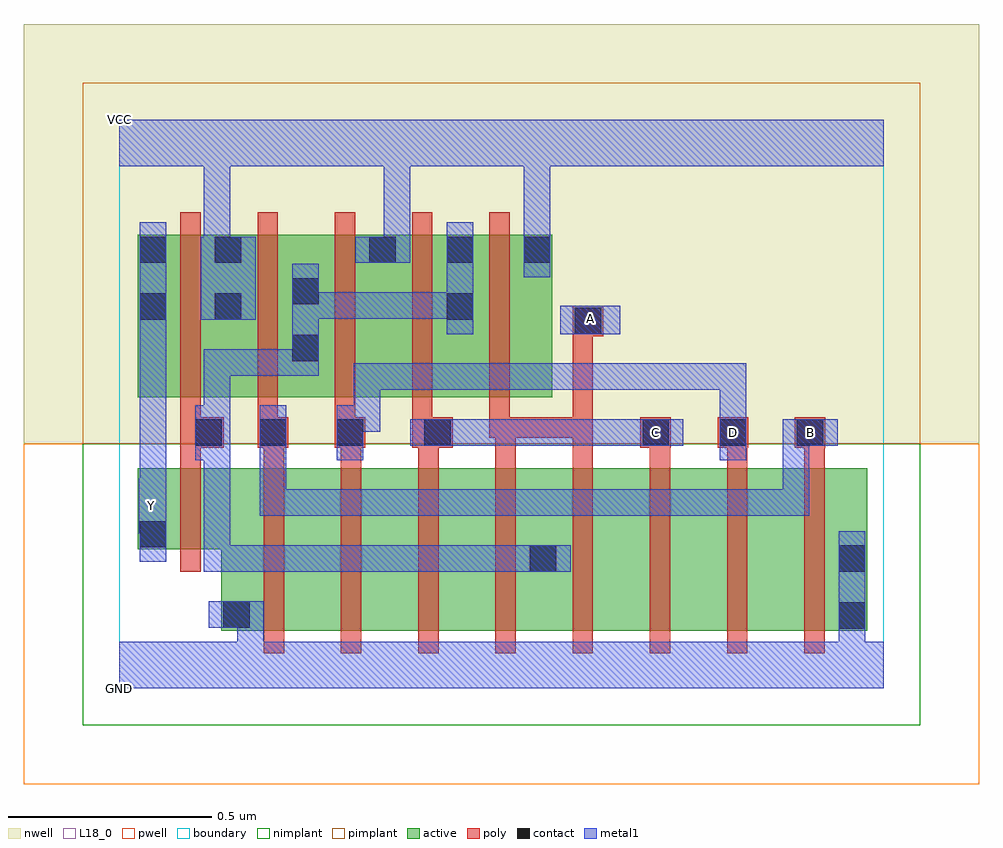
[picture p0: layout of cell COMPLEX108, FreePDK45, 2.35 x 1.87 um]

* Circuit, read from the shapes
.subckt COMPLEX108 A B C D GND VCC Y
M1 GND n1 Y VSUBS nfet w=0.2u l=0.05u
M2 n2 B GND VSUBS nfet w=0.4u l=0.05u
M3 n3 D n2 VSUBS nfet w=0.4u l=0.05u
M4 n4 C n3 VSUBS nfet w=0.4u l=0.05u
M5 n1 A n4 VSUBS nfet w=0.4u l=0.05u
M6 n5 A n1 VSUBS nfet w=0.4u l=0.05u
M7 n6 C n5 VSUBS nfet w=0.4u l=0.05u
M8 n7 D n6 VSUBS nfet w=0.4u l=0.05u
M9 GND B n7 VSUBS nfet w=0.4u l=0.05u
M10 VCC n1 Y n8 pfet w=0.4u l=0.05u
M11 n1 B VCC n8 pfet w=0.4u l=0.05u
M12 VCC D n1 n8 pfet w=0.4u l=0.05u
M13 n1 C VCC n8 pfet w=0.4u l=0.05u
M14 VCC A n1 n8 pfet w=0.4u l=0.05u
.ends

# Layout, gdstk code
import gdstk
lib = gdstk.Library(unit=1e-6, precision=1e-09)
def R(c, l, rs):  # rectangles x0, y0, x1, y1
    for r in rs: c.add(gdstk.rectangle(r[:2], r[2:], *l))
def A(c, l, x, y, w, h, nx, ny, dx, dy):  # array of equal rectangles
    R(c, l, [(x+i*dx, y+j*dy, x+i*dx+w, y+j*dy+h) for i in range(nx) for j in range(ny)])
active = (1, 0)
pwell = (2, 0)
nwell = (3, 0)
nimplant = (4, 0)
pimplant = (5, 0)
poly = (9, 0)
contact = (10, 0)
metal1 = (11, 0)
L18_0 = (18, 0)
boundary = (235, 0)

complex108 = lib.new_cell('COMPLEX108')
A(complex108, active, 0.23, 0.717, 0.265, 0.4, 4, 1, 0.19, 0)
R(complex108, active, [(0.25,0.142,0.475,0.542), (0.25,0.142,0.325,0.342), (0.475,0.142,0.665,0.542), (0.665,0.142,0.855,0.542), (0.855,0.142,1.08,0.542), (1.005,0.142,1.235,0.542), (1.235,0.142,1.425,0.542), (1.425,0.142,1.615,0.542), (1.615,0.142,1.84,0.542), (1.765,0.142,1.84,0.542), (1.005,0.147,1.08,0.542), (0.045,0.342,0.12,0.542), (0.045,0.342,0.325,0.542), (0.045,0.717,0.12,1.117), (0.045,0.717,0.305,1.117), (0.42,0.717,0.495,1.067), (0.99,0.72,1.065,1.117), (0.23,0.802,0.305,1.117), (0.8,0.802,0.875,1.117), (0.61,0.907,0.685,1.117)])
R(complex108, pwell, [(-0.235,-0.235,2.115,0.602)])
R(complex108, nwell, [(-0.235,0.602,2.115,1.635)])
R(complex108, nimplant, [(-0.09,-0.09,1.97,0.602)])
R(complex108, pimplant, [(-0.09,0.602,1.97,1.49)])
A(complex108, poly, 0.355, 0.087, 0.05, 0.51, 8, 1, 0.19, 0)
A(complex108, poly, 0.355, 0.547, 0.05, 0.095, 3, 1, 0.19, 0)
A(complex108, poly, 1.305, 0.547, 0.05, 0.095, 3, 1, 0.19, 0)
A(complex108, poly, 1.282, 0.592, 0.075, 0.075, 3, 1, 0.19, 0)
A(complex108, poly, 0.15, 0.617, 0.05, 0.095, 5, 1, 0.19, 0)
A(complex108, poly, 0.15, 0.662, 0.05, 0.51, 5, 1, 0.19, 0)
R(complex108, poly, [(0.15,0.287,0.2,0.597), (0.15,0.547,0.2,0.642), (0.925,0.547,0.975,0.667), (1.115,0.547,1.165,0.667), (0.15,0.592,0.257,0.667), (0.34,0.592,0.415,0.667), (0.53,0.592,0.605,0.667), (0.72,0.592,0.82,0.667), (0.91,0.617,0.975,0.667), (0.925,0.617,0.975,0.667), (0.925,0.617,0.975,0.667), (0.925,0.617,1.165,0.667), (1.115,0.617,1.165,0.667), (1.115,0.617,1.165,0.917), (1.115,0.867,1.19,0.942), (1.115,0.867,1.165,0.917), (1.115,0.867,1.165,0.917)])
A(complex108, contact, 1.287, 0.597, 0.065, 0.065, 3, 1, 0.19, 0)
A(complex108, contact, 0.615, 1.047, 0.065, 0.065, 3, 1, 0.19, 0)
R(complex108, contact, [(1.77,0.147,1.835,0.212), (0.255,0.15,0.32,0.215), (1.01,0.287,1.075,0.352), (1.77,0.287,1.835,0.352), (0.05,0.347,0.115,0.412), (0.187,0.597,0.252,0.662), (0.345,0.597,0.41,0.662), (0.535,0.597,0.6,0.662), (0.75,0.597,0.815,0.662), (0.425,0.805,0.49,0.87), (1.12,0.872,1.185,0.937), (0.05,0.907,0.115,0.972), (0.235,0.907,0.3,0.972), (0.805,0.907,0.87,0.972), (0.425,0.945,0.49,1.01), (0.05,1.047,0.115,1.112), (0.235,1.047,0.3,1.112)])
R(complex108, metal1, [(0,0,1.88,0.115), (0.29,0.05,0.355,0.215), (1.77,0.05,1.835,0.177), (1.77,0.112,1.835,0.387), (0.22,0.15,0.355,0.215), (0.207,0.287,0.272,0.352), (0.207,0.287,0.462,0.352), (0.207,0.287,0.272,0.627), (0.397,0.287,0.462,0.352), (0.397,0.287,0.462,0.352), (0.397,0.287,0.462,0.352), (0.397,0.287,0.642,0.352), (0.577,0.287,0.642,0.352), (0.577,0.287,0.642,0.352), (0.577,0.287,0.642,0.352), (0.577,0.287,0.875,0.352), (0.81,0.287,0.875,0.352), (0.81,0.287,0.875,0.352), (0.81,0.287,0.875,0.352), (0.81,0.287,1.012,0.352), (0.947,0.287,1.012,0.352), (0.947,0.287,1.04,0.352), (0.975,0.287,1.11,0.352), (0.05,0.312,0.115,0.447), (0.047,0.382,0.115,0.517), (0.05,0.382,0.115,0.447), (0.345,0.425,0.41,0.49), (0.345,0.425,0.627,0.49), (0.345,0.425,0.41,0.627), (0.562,0.425,0.627,0.49), (0.562,0.425,0.627,0.49), (0.562,0.425,0.627,0.49), (0.562,0.425,0.78,0.49), (0.715,0.425,0.78,0.49), (0.715,0.425,0.78,0.49), (0.715,0.425,0.78,0.49), (0.715,0.425,1.012,0.49), (0.947,0.425,1.012,0.49), (0.947,0.425,1.15,0.49), (1.085,0.425,1.15,0.49), (1.085,0.425,1.15,0.49), (1.085,0.425,1.15,0.49), (1.085,0.425,1.317,0.49), (1.252,0.425,1.317,0.49), (1.252,0.425,1.317,0.49), (1.252,0.425,1.317,0.49), (1.252,0.425,1.525,0.49), (1.46,0.425,1.525,0.49), (1.46,0.425,1.525,0.49), (1.46,0.425,1.525,0.49), (1.46,0.425,1.697,0.49), (1.632,0.425,1.697,0.49), (1.632,0.425,1.697,0.662), (0.05,0.452,0.115,0.937), (0.187,0.562,0.252,0.697), (0.187,0.562,0.272,0.627), (0.207,0.562,0.272,0.627), (0.207,0.562,0.272,0.627), (0.207,0.562,0.272,0.627), (0.207,0.562,0.272,0.835), (0.345,0.562,0.41,0.627), (0.345,0.562,0.41,0.627), (0.345,0.562,0.41,0.697), (0.535,0.562,0.6,0.697), (1.477,0.562,1.542,0.697), (0.715,0.597,0.85,0.662), (0.785,0.597,0.85,0.662), (0.785,0.597,0.85,0.662), (0.785,0.597,1.012,0.662), (0.947,0.597,1.012,0.662), (0.947,0.597,1.012,0.662), (0.947,0.597,1.012,0.662), (0.947,0.597,1.18,0.662), (1.115,0.597,1.18,0.662), (1.115,0.597,1.317,0.662), (1.252,0.597,1.317,0.662), (1.252,0.597,1.317,0.662), (1.252,0.597,1.387,0.662), (1.632,0.597,1.697,0.662), (1.632,0.597,1.697,0.662), (1.632,0.597,1.767,0.662), (0.535,0.632,0.642,0.697), (0.577,0.632,0.642,0.697), (0.577,0.632,0.642,0.8), (1.477,0.632,1.542,0.697), (1.477,0.632,1.542,0.697), (1.477,0.632,1.542,0.8), (0.577,0.735,0.642,0.8), (0.577,0.735,0.78,0.8), (0.715,0.735,0.78,0.8), (0.715,0.735,0.78,0.8), (0.715,0.735,0.78,0.8), (0.715,0.735,1.012,0.8), (0.947,0.735,1.012,0.8), (0.947,0.735,1.012,0.8), (0.947,0.735,1.012,0.8), (0.947,0.735,1.15,0.8), (1.085,0.735,1.15,0.8), (1.085,0.735,1.317,0.8), (1.252,0.735,1.317,0.8), (1.252,0.735,1.317,0.8), (1.252,0.735,1.317,0.8), (1.252,0.735,1.542,0.8), (1.477,0.735,1.542,0.8), (0.207,0.77,0.272,0.835), (0.207,0.77,0.462,0.835), (0.397,0.77,0.462,0.835), (0.397,0.77,0.49,0.835), (0.425,0.77,0.49,1.045), (0.05,0.872,0.115,1.147), (0.805,0.872,0.87,1.147), (1.085,0.872,1.232,0.942), (0.2,0.907,0.335,1.112), (0.425,0.91,0.49,0.975), (0.425,0.91,0.49,1.045), (0.425,0.91,0.642,0.975), (0.577,0.91,0.642,0.975), (0.577,0.91,0.642,0.975), (0.577,0.91,0.642,0.975), (0.577,0.91,0.87,0.975), (0.805,0.91,0.87,0.975), (0.805,0.91,0.87,0.975), (0.995,1.012,1.06,1.147), (0.207,1.047,0.272,1.112), (0.207,1.047,0.272,1.112), (0.207,1.047,0.272,1.35), (0.58,1.047,0.715,1.112), (0.65,1.047,0.715,1.35), (0.995,1.082,1.06,1.35), (0,1.285,1.88,1.4), (0.65,1.285,0.715,1.35), (0.65,1.285,0.715,1.35), (0.995,1.285,1.06,1.35), (0.995,1.285,1.06,1.35)])
R(complex108, L18_0, [(0,0,1.88,0.115), (0.29,0.05,0.355,0.215), (1.77,0.05,1.835,0.177), (1.77,0.112,1.835,0.387), (0.22,0.15,0.355,0.215), (0.05,0.312,0.115,0.447), (0.047,0.382,0.115,0.517), (0.05,0.382,0.115,0.447), (0.047,0.417,0.112,0.482), (0.345,0.425,0.41,0.49), (0.345,0.425,0.41,0.627), (0.345,0.425,0.627,0.49), (0.562,0.425,0.627,0.49), (0.562,0.425,0.627,0.49), (0.562,0.425,0.627,0.49), (0.562,0.425,0.78,0.49), (0.715,0.425,0.78,0.49), (0.715,0.425,0.78,0.49), (0.715,0.425,0.78,0.49), (0.715,0.425,1.012,0.49), (0.947,0.425,1.012,0.49), (0.947,0.425,1.15,0.49), (1.085,0.425,1.15,0.49), (1.085,0.425,1.15,0.49), (1.085,0.425,1.15,0.49), (1.085,0.425,1.317,0.49), (1.252,0.425,1.317,0.49), (1.252,0.425,1.317,0.49), (1.252,0.425,1.317,0.49), (1.252,0.425,1.525,0.49), (1.46,0.425,1.525,0.49), (1.46,0.425,1.525,0.49), (1.46,0.425,1.525,0.49), (1.46,0.425,1.697,0.49), (1.632,0.425,1.697,0.49), (1.632,0.425,1.697,0.662), (0.05,0.452,0.115,0.937), (0.345,0.562,0.41,0.697), (0.345,0.562,0.41,0.627), (0.345,0.562,0.41,0.627), (0.535,0.562,0.6,0.697), (1.477,0.562,1.542,0.697), (0.715,0.597,0.85,0.662), (0.785,0.597,0.85,0.662), (0.785,0.597,0.85,0.662), (0.785,0.597,1.012,0.662), (0.947,0.597,1.012,0.662), (0.947,0.597,1.012,0.662), (0.947,0.597,1.012,0.662), (0.947,0.597,1.18,0.662), (1.115,0.597,1.18,0.662), (1.115,0.597,1.317,0.662), (1.252,0.597,1.317,0.662), (1.252,0.597,1.317,0.662), (1.252,0.597,1.387,0.662), (1.287,0.597,1.352,0.662), (1.477,0.597,1.542,0.662), (1.632,0.597,1.697,0.662), (1.632,0.597,1.697,0.662), (1.632,0.597,1.767,0.662), (1.667,0.597,1.732,0.662), (0.535,0.632,0.642,0.697), (0.577,0.632,0.642,0.697), (0.577,0.632,0.642,0.8), (1.477,0.632,1.542,0.697), (1.477,0.632,1.542,0.697), (1.477,0.632,1.542,0.8), (0.577,0.735,0.642,0.8), (0.577,0.735,0.78,0.8), (0.715,0.735,0.78,0.8), (0.715,0.735,0.78,0.8), (0.715,0.735,0.78,0.8), (0.715,0.735,1.012,0.8), (0.947,0.735,1.012,0.8), (0.947,0.735,1.012,0.8), (0.947,0.735,1.012,0.8), (0.947,0.735,1.15,0.8), (1.085,0.735,1.15,0.8), (1.085,0.735,1.317,0.8), (1.252,0.735,1.317,0.8), (1.252,0.735,1.317,0.8), (1.252,0.735,1.317,0.8), (1.252,0.735,1.542,0.8), (1.477,0.735,1.542,0.8), (0.05,0.872,0.115,1.147), (1.085,0.872,1.232,0.942), (1.127,0.877,1.192,0.942), (0.2,0.907,0.335,1.112), (0.995,1.012,1.06,1.147), (0.207,1.047,0.272,1.112), (0.207,1.047,0.272,1.112), (0.207,1.047,0.272,1.35), (0.58,1.047,0.715,1.112), (0.65,1.047,0.715,1.35), (0.995,1.082,1.06,1.35), (0,1.285,1.88,1.4), (0.65,1.285,0.715,1.35), (0.65,1.285,0.715,1.35), (0.995,1.285,1.06,1.35), (0.995,1.285,1.06,1.35)])
R(complex108, boundary, [(0,0,1.88,1.4)])
complex108.add(gdstk.Label('A', (1.16,0.91), layer=11, texttype=0))
complex108.add(gdstk.Label('B', (1.7,0.63), layer=11, texttype=0))
complex108.add(gdstk.Label('C', (1.32,0.63), layer=11, texttype=0))
complex108.add(gdstk.Label('D', (1.51,0.63), layer=11, texttype=0))
complex108.add(gdstk.Label('Y', (0.08,0.45), layer=11, texttype=0))
complex108.add(gdstk.Label('VCC', (0,1.4), layer=11, texttype=0))
complex108.add(gdstk.Label('GND', (0,0), layer=11, texttype=0))

lib.write_gds('COMPLEX108.gds')
